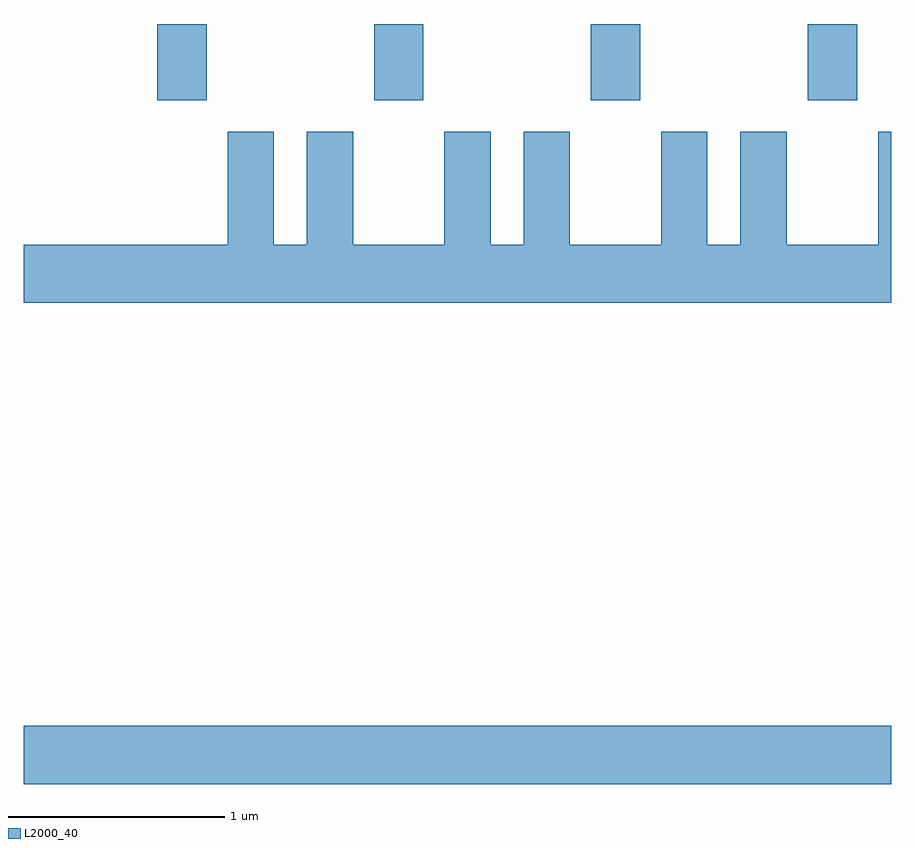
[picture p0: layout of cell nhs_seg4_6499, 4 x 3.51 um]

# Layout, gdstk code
import gdstk
lib = gdstk.Library(unit=1e-6, precision=1e-09)
def R(c, l, rs):  # rectangles x0, y0, x1, y1
    for r in rs: c.add(gdstk.rectangle(r[:2], r[2:], *l))
def A(c, l, x, y, w, h, nx, ny, dx, dy):  # array of equal rectangles
    R(c, l, [(x+i*dx, y+j*dy, x+i*dx+w, y+j*dy+h) for i in range(nx) for j in range(ny)])
def P(c, l, *ps):  # polygons
    for p in ps: c.add(gdstk.Polygon(p, *l))
L2000_40 = (2000, 40)

nhs_seg4_6499 = lib.new_cell('nhs_seg4_6499')
A(nhs_seg4_6499, L2000_40, 376.226, 1335.631, 0.228, 0.351, 4, 1, 1, 0)
R(nhs_seg4_6499, L2000_40, [(375.611,1332.476,379.611,1332.744)])
P(nhs_seg4_6499, L2000_40, [(379.611,1335.484),(379.551,1335.484),(379.551,1334.964),(379.129,1334.964),(379.129,1335.484),(378.916,1335.484),(378.916,1334.964),(378.764,1334.964),(378.764,1335.484),(378.551,1335.484),(378.551,1334.964),(378.129,1334.964),(378.129,1335.484),(377.916,1335.484),(377.916,1334.964),(377.764,1334.964),(377.764,1335.484),(377.551,1335.484),(377.551,1334.964),(377.129,1334.964),(377.129,1335.484),(376.916,1335.484),(376.916,1334.964),(376.764,1334.964),(376.764,1335.484),(376.551,1335.484),(376.551,1334.964),(375.611,1334.964),(375.611,1334.696),(379.611,1334.696)])

lib.write_gds('nhs_seg4_6499.gds')
